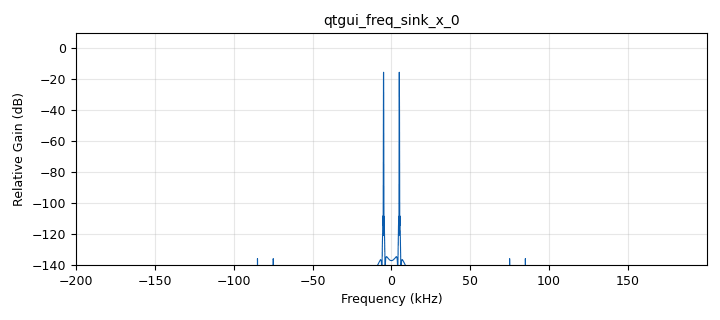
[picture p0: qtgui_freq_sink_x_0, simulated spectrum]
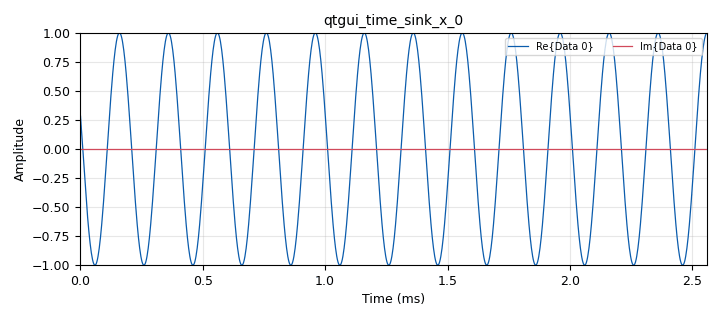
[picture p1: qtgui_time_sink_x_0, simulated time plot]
options:
  parameters:
    author: Jhonatan Franco_Jhonatan Valest_J1B_G4
    generate_options: qt_gui
    id: ConfiguracionUSRP
    output_language: python
    title: ConfiguracionUSRP
  states: {}

blocks:
- name: A
  id: variable_qtgui_range
  parameters:
    label: Amplitud Señal TX
    start: '0'
    step: '1e-6'
    stop: '1'
    value: '1'
  states: {}
- name: GTX
  id: variable_qtgui_range
  parameters:
    label: Ganancia del Tx
    start: '0'
    step: '1'
    stop: '30'
    value: '0'
  states: {}
- name: fc
  id: variable_qtgui_range
  parameters:
    label: Frecuencia Portadora
    start: '50000000'
    step: 1e6
    stop: 2.2e9
    value: '50000000'
  states: {}
- name: samp_rate
  id: variable
  parameters:
    value: '400000'
  states: {}
- name: CalculoPotenciaJ1B_0
  id: CalculoPotenciaJ1B
  parameters:
    l_vect: '1024'
  states: {}
- name: Signal
  id: analog_sig_source_x
  parameters:
    amp: A
    freq: '5000'
    offset: '0'
    phase: '0'
    samp_rate: samp_rate
    type: float
    waveform: analog.GR_COS_WAVE
  states: {}
- name: blocks_float_to_complex_0
  id: blocks_float_to_complex
  parameters: {}
  states: {}
- name: qtgui_freq_sink_x_0
  id: qtgui_freq_sink_x
  parameters:
    bw: samp_rate
    fc: '0'
    fftsize: '8192'
    type: complex
  states: {}
- name: qtgui_time_sink_x_0
  id: qtgui_time_sink_x
  parameters:
    size: '1024'
    srate: samp_rate
    type: complex
  states: {}
- name: uhd_usrp_sink_0
  id: uhd_usrp_sink
  parameters:
    ant0: '"TX/RX"'
    center_freq0: fc
    dev_args: '""'
    gain0: GTX
    samp_rate: samp_rate
    sync: pc_clock
    type: fc32
  states: {}

connections:
- [Signal, '0', CalculoPotenciaJ1B_0, '0']
- [Signal, '0', blocks_float_to_complex_0, '0']
- [blocks_float_to_complex_0, '0', qtgui_freq_sink_x_0, '0']
- [blocks_float_to_complex_0, '0', qtgui_time_sink_x_0, '0']
- [blocks_float_to_complex_0, '0', uhd_usrp_sink_0, '0']

metadata:
  file_format: 1
  grc_version: 3.10.5.1
